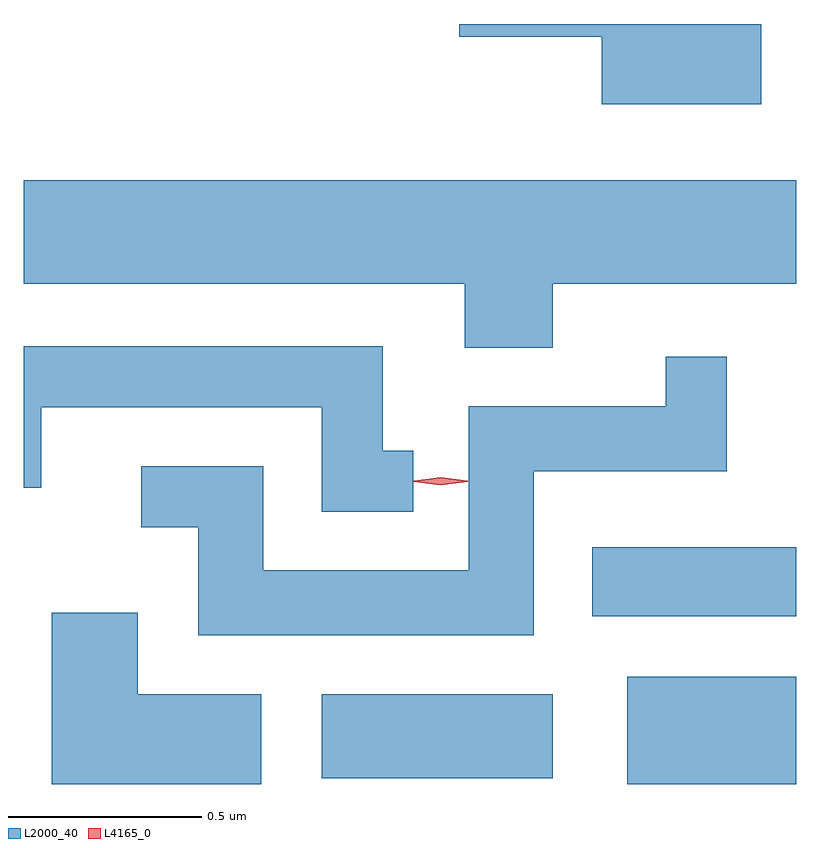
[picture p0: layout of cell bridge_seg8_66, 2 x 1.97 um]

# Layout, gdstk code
import gdstk
lib = gdstk.Library(unit=1e-6, precision=1e-09)
def R(c, l, rs):  # rectangles x0, y0, x1, y1
    for r in rs: c.add(gdstk.rectangle(r[:2], r[2:], *l))
def P(c, l, *ps):  # polygons
    for p in ps: c.add(gdstk.Polygon(p, *l))
L2000_40 = (2000, 40)
L4165_0 = (4165, 0)

bridge_seg8_66 = lib.new_cell('bridge_seg8_66')
R(bridge_seg8_66, L2000_40, [(1479.281,1930.581,1479.719,1930.859), (1478.491,1930.596,1479.089,1930.814), (1479.191,1931.016,1479.719,1931.194)])
P(bridge_seg8_66, L2000_40, [(1479.629,1932.549),(1478.846,1932.549),(1478.846,1932.516),(1479.216,1932.516),(1479.216,1932.341),(1479.629,1932.341)],
  [(1479.089,1931.876),(1479.719,1931.876),(1479.719,1932.144),(1477.719,1932.144),(1477.719,1931.876),(1478.861,1931.876),(1478.861,1931.711),(1479.089,1931.711)],
  [(1478.728,1931.444),(1478.649,1931.444),(1478.649,1931.714),(1477.719,1931.714),(1477.719,1931.348),(1477.764,1931.348),(1477.764,1931.556),(1478.491,1931.556),(1478.491,1931.286),(1478.728,1931.286)],
  [(1479.039,1931.391),(1479.539,1931.391),(1479.539,1931.688),(1479.381,1931.688),(1479.381,1931.559),(1478.871,1931.559),(1478.871,1931.134),(1478.339,1931.134),(1478.339,1931.404),(1478.023,1931.404),(1478.023,1931.246),(1478.171,1931.246),(1478.171,1930.966),(1479.039,1930.966)],
  [(1478.334,1930.814),(1478.014,1930.814),(1478.014,1931.024),(1477.791,1931.024),(1477.791,1930.581),(1478.334,1930.581)])
P(bridge_seg8_66, L4165_0, [(1478.798,1931.355),(1478.729,1931.364),(1478.729,1931.365),(1478.729,1931.366),(1478.798,1931.375),(1478.868,1931.366),(1478.868,1931.365),(1478.868,1931.364)])

lib.write_gds('bridge_seg8_66.gds')
